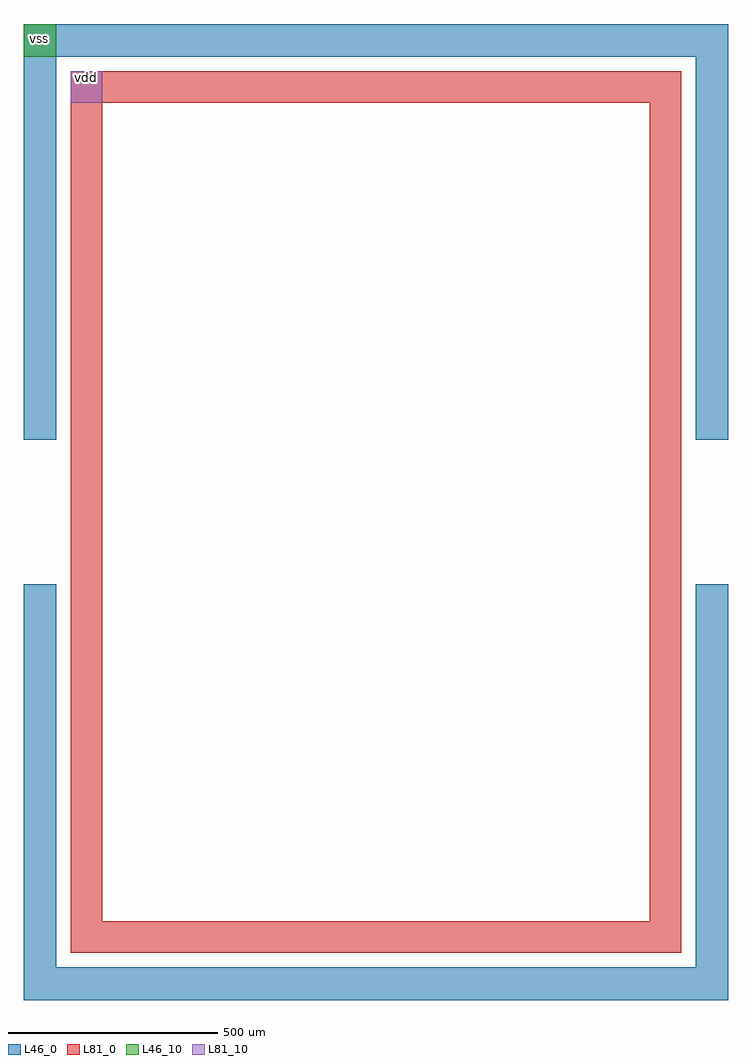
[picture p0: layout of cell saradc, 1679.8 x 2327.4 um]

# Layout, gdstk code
import gdstk
lib = gdstk.Library(unit=1e-6, precision=1e-09)
def R(c, l, rs):  # rectangles x0, y0, x1, y1
    for r in rs: c.add(gdstk.rectangle(r[:2], r[2:], *l))
L46_0 = (46, 0)
L46_10 = (46, 10)
L81_0 = (81, 0)
L81_10 = (81, 10)

saradc = lib.new_cell('saradc')
R(saradc, L46_0, [(-838.48,-1163.7,-760.48,-172.48), (-838.48,-1163.7,841.32,-1085.7), (763.32,-1163.7,841.32,-172.48), (-838.48,172.48,-760.48,1163.7), (763.32,172.48,841.32,1163.7), (-838.48,1085.7,841.32,1163.7)])
R(saradc, L46_10, [(-838.48,1085.7,-760.48,1163.7)])
R(saradc, L81_0, [(-725.98,-1051.2,-650.98,-117.62), (-725.98,-1051.2,729.02,-976.2), (654.02,-1051.2,729.02,-117.62), (-725.98,-132.62,-650.98,132.62), (654.02,-132.62,729.02,132.62), (-725.98,117.62,-650.98,1051.2), (654.02,117.62,729.02,1051.2), (-725.98,976.2,729.02,1051.2)])
R(saradc, L81_10, [(-725.98,976.2,-650.98,1051.2)])
saradc.add(gdstk.Label('vss', (-800.296,1129.621), layer=46, texttype=10))
saradc.add(gdstk.Label('vdd', (-688.48,1036.15), layer=81, texttype=10))

lib.write_gds('saradc.gds')
